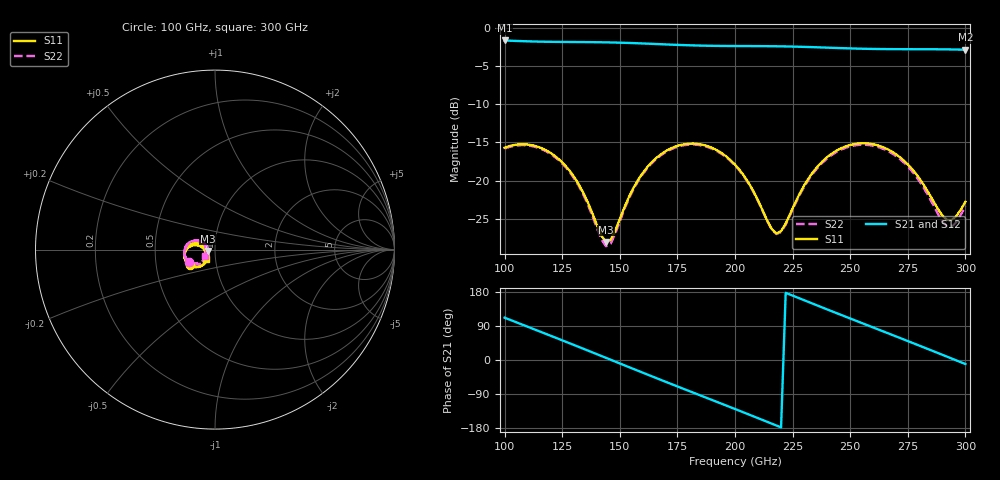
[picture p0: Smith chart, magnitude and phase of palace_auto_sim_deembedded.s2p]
! Created with skrf 1.11.0 (http://scikit-rf.org).
# GHz S DB R 50.0
!freq dBS11 angS11 dBS21 angS21 dBS12 angS12 dBS22 angS22
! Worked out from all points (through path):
!   101 points, 100 GHz to 300 GHz, reference 50 ohm
!   highest |S21| = -1.63 dB at 100 GHz (marker M1); lowest = -2.8 dB at 300 GHz (marker M2)
!   group delay of S21, straight-line fit = 6.7 ps
!   lowest |S11| = -28.0 dB at 144 GHz (marker M3), VSWR 1.08, Z = 46.2 - j0.661 ohm
!   |S11| at or under -10 dB: start of sweep to end of sweep
!   |S22| runs from -28.6 to -15.3 dB; largest |S21 - S12| = 8.8e-14
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100  -15.69 -149.3  -1.63 111.7  -1.63 111.7  -15.79 -154.0
108  -15.23 -165.0  -1.72 92.6  -1.72 92.6  -15.34 -170.1
116  -15.74 179.8  -1.79 73.5  -1.79 73.5  -15.86 174.2
126  -17.91 163.1  -1.82 49.5  -1.82 49.5  -18.06 156.8
134  -21.49 155.8  -1.84 30.1  -1.84 30.1  -21.71 148.9
144  -28.03 -169.6  -1.88 5.7  -1.88 5.7  -28.59 -175.8
146  -27.76 -153.1  -1.89 0.8  -1.89 0.8  -28.27 -158.3
156  -20.91 -126.1  -1.98 -23.8  -1.98 -23.8  -21.08 -131.7
168  -16.51 -140.6  -2.12 -52.9  -2.12 -52.9  -16.64 -147.3
176  -15.35 -154.5  -2.22 -72.1  -2.22 -72.1  -15.48 -161.7
184  -15.20 -168.9  -2.29 -91.2  -2.29 -91.2  -15.31 -176.5
200  -17.89 165.4  -2.36 -129.3  -2.36 -129.3  -18.00 156.9
210  -22.59 161.3  -2.37 -153.5  -2.37 -153.5  -22.67 152.2
218  -26.92 -165.6  -2.39 -172.9  -2.39 -172.9  -27.00 -175.7
226  -22.98 -128.9  -2.44 167.5  -2.44 167.5  -23.13 -139.4
234  -18.82 -129.2  -2.51 148.0  -2.51 148.0  -18.99 -139.9
244  -16.08 -142.4  -2.61 123.9  -2.61 123.9  -16.25 -153.7
252  -15.19 -155.5  -2.69 104.8  -2.69 104.8  -15.38 -167.3
268  -16.17 178.6  -2.77 66.7  -2.77 66.7  -16.39 165.7
280  -19.70 166.6  -2.78 38.0  -2.78 38.0  -20.03 152.3
292  -25.13 -167.8  -2.80 8.8  -2.80 8.8  -25.98 178.5
300  -22.77 -134.7  -2.84 -10.6  -2.84 -10.6  -23.34 -146.0
